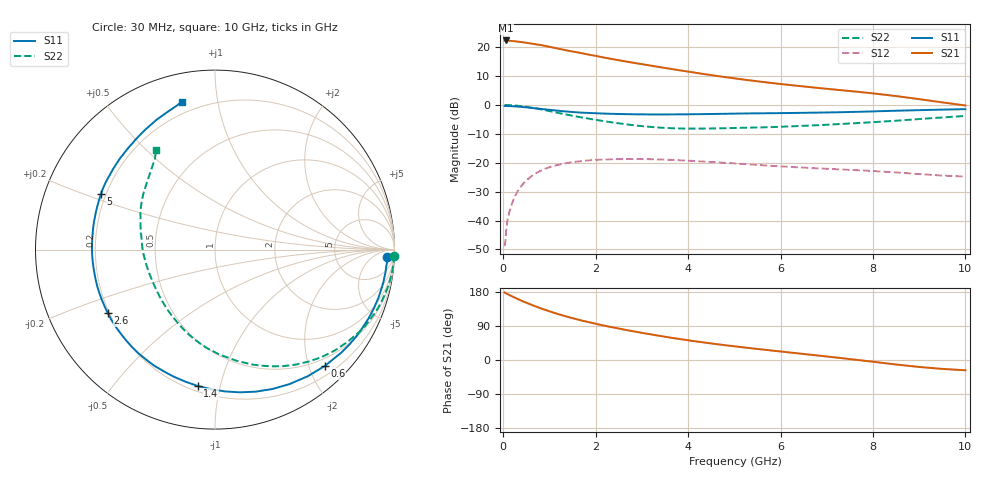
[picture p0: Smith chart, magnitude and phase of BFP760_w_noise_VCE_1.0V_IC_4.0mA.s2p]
! Infineon Technologies  Discrete & RF Semiconductors
! BFP760
! VCE =  1.0 V,  IC =  4.0 mA
! Common Emitter S-Parameters:  Nov 2012
# GHz  S  MA  R  50
!  f  S11  S21  S12  S22
! GHz  MAG  ANG  MAG  ANG  MAG  ANG  MAG  ANG
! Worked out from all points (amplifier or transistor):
!   99 points, 30 MHz to 10 GHz, reference 50 ohm
!   highest |S21| = 22.3 dB at 50 MHz (marker M1)
!   |S21| within 3 dB of that: start of sweep to 1.241 GHz
!   unconditionally stable (mu >= 1): 6.587 GHz to end of sweep
!   at 350 MHz: K = 0.07, MSG = 25.4 dB, |S12| = -28.9 dB
!   at 3.5 GHz: K = 0.43, MSG = 15.9 dB, |S12| = -18.9 dB
!   at 10 GHz: K = 1.47, MAG = 8.2 dB, |S12| = -24.8 dB
!   lowest NFmin = 0.43 dB at 900 MHz
!   S11 on the Smith chart (normalised r, x): 30 MHz: 23, -25; 600 MHz: 0.36, -2.27; 1.4 GHz: 0.23, -0.85; 2.6 GHz: 0.19, -0.26; 5 GHz: 0.18, +0.23; 10 GHz: 0.14, +0.79
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0.03  0.9615 -2.5  12.86 178.2  0.0036 87.9  0.9988 -1.9
0.05  0.9605 -4.1  13.05 176.5  0.0045 93.0  0.9967 -3.1
0.08  0.9584 -6.6  13.03 174.8  0.0085 85.8  0.9968 -5.0
0.14  0.9545 -11.4  12.86 171.1  0.0148 83.2  0.9915 -8.6
0.35  0.93 -28.0  12.37 158.9  0.0359 72.4  0.9608 -21.1
0.45  0.9159 -35.6  12.06 153.6  0.0449 67.7  0.9393 -26.8
0.6  0.8912 -46.7  11.57 146.2  0.0576 60.8  0.8984 -35.1
0.8  0.8566 -61.0  10.91 136.9  0.0721 52.6  0.8426 -45.4
0.9  0.84 -67.6  10.53 132.6  0.0782 48.6  0.8118 -50.3
1.1  0.8072 -80.1  9.752 124.5  0.0883 41.5  0.7526 -59.6
1.4  0.7659 -97.2  8.699 113.7  0.0993 32.4  0.6739 -71.9
1.7  0.7357 -112.9  7.846 104.1  0.1068 24.9  0.6062 -83.1
2.1  0.7126 -130.7  6.797 92.8  0.113 15.9  0.5365 -97.6
2.6  0.6944 -149.4  5.743 80.6  0.1157 6.8  0.4687 -113.9
3  0.6871 -162.6  5.073 71.6  0.1157 0.5  0.4302 -126.9
3.4  0.6846 -174.4  4.493 63.4  0.1138 -4.9  0.405 -139.2
4.1  0.6905 168.8  3.669 50.3  0.1075 -12.8  0.3894 -158.6
5  0.7073 153.8  2.885 36.2  0.0975 -19.7  0.3988 -176.3
5.1  0.7094 152.5  2.817 34.7  0.0962 -20.3  0.4008 -178.1
6.7  0.7348 135.5  2.009 13.3  0.0808 -25.3  0.4424 159.8
8.5  0.7938 114.1  1.424 -11.9  0.068 -28.1  0.533 135.4
10  0.8452 102.6  0.979 -27.1  0.0577 -22.9  0.6446 120.7
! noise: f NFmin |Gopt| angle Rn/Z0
0.9  0.43  0.46  26  0.14
1.8  0.52  0.39  54  0.12
2.4  0.63  0.33  75  0.11
3.5  0.81  0.27  109  0.1
5.5  1.15  0.36  -157  0.08
8  1.69  0.49  -104  0.29
